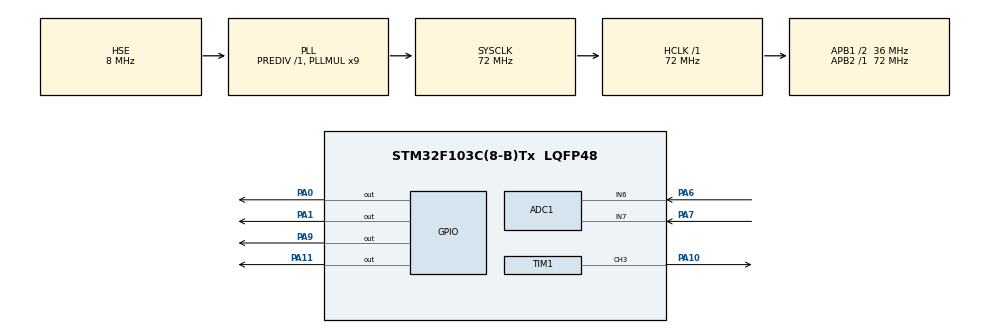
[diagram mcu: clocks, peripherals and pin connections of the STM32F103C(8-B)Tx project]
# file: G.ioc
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ADC1.Channel-0\#ChannelRegularConversion=ADC_CHANNEL_6
ADC1.Channel-1\#ChannelRegularConversion=ADC_CHANNEL_7
ADC1.DiscontinuousConvMode=ENABLE
ADC1.NbrOfConversion=2
ADC1.NbrOfConversionFlag=1
ADC1.Rank-0\#ChannelRegularConversion=1
ADC1.Rank-1\#ChannelRegularConversion=2
ADC1.SamplingTime-0\#ChannelRegularConversion=ADC_SAMPLETIME_239CYCLES_5
ADC1.SamplingTime-1\#ChannelRegularConversion=ADC_SAMPLETIME_239CYCLES_5
ADC1.master=1
Mcu.Family=STM32F1
Mcu.Name=STM32F103C(8-B)Tx
Mcu.Package=LQFP48
NVIC.PriorityGroup=NVIC_PRIORITYGROUP_4
PA0-WKUP.GPIO_ModeDefaultOutputPP=GPIO_MODE_OUTPUT_PP
PA0-WKUP.GPIO_PuPd=GPIO_NOPULL
PA0-WKUP.GPIO_Speed=GPIO_SPEED_FREQ_HIGH
PA0-WKUP.PinState=GPIO_PIN_RESET
PA0-WKUP.Signal=GPIO_Output
PA1.GPIO_ModeDefaultOutputPP=GPIO_MODE_OUTPUT_PP
PA1.GPIO_PuPd=GPIO_NOPULL
PA1.GPIO_Speed=GPIO_SPEED_FREQ_HIGH
PA1.PinState=GPIO_PIN_RESET
PA1.Signal=GPIO_Output
PA10.GPIO_Speed=GPIO_SPEED_FREQ_HIGH
PA10.Signal=S_TIM1_CH3
PA11.GPIO_PuPd=GPIO_PULLDOWN
PA11.GPIO_Speed=GPIO_SPEED_FREQ_HIGH
PA11.Signal=GPIO_Output
PA13.Mode=Serial_Wire
PA13.Signal=SYS_JTMS-SWDIO
PA14.Mode=Serial_Wire
PA14.Signal=SYS_JTCK-SWCLK
PA6.Signal=ADCx_IN6
PA7.Signal=ADCx_IN7
PA9.GPIO_Speed=GPIO_SPEED_FREQ_HIGH
PA9.Signal=GPIO_Output
PD0-OSC_IN.Mode=HSE-External-Oscillator
PD0-OSC_IN.Signal=RCC_OSC_IN
PD1-OSC_OUT.Mode=HSE-External-Oscillator
PD1-OSC_OUT.Signal=RCC_OSC_OUT
ProjectManager.HeapSize=0x200
ProjectManager.StackSize=0x400
ProjectManager.TargetToolchain=MDK-ARM V5.32
RCC.ADCPresc=RCC_ADCPCLK2_DIV6
RCC.AHBFreq_Value=72000000
RCC.APB1CLKDivider=RCC_HCLK_DIV2
RCC.APB1Freq_Value=36000000
RCC.APB1TimFreq_Value=72000000
RCC.APB2Freq_Value=72000000
RCC.APB2TimFreq_Value=72000000
RCC.HCLKFreq_Value=72000000
RCC.PLLMUL=RCC_PLL_MUL9
RCC.PLLSourceVirtual=RCC_PLLSOURCE_HSE
RCC.SYSCLKFreq_VALUE=72000000
RCC.SYSCLKSource=RCC_SYSCLKSOURCE_PLLCLK
RCC.USBFreq_Value=72000000
SH.ADCx_IN6.0=ADC1_IN6,IN6
SH.ADCx_IN7.0=ADC1_IN7,IN7
SH.S_TIM1_CH3.0=TIM1_CH3,PWM Generation3 CH3
TIM1.Channel-PWM\ Generation3\ CH3=TIM_CHANNEL_3
TIM1.Period=999
TIM1.Prescaler=71
TIM1.Pulse-PWM\ Generation3\ CH3=499
VP_TIM1_VS_ClockSourceINT.Mode=Internal
board=custom

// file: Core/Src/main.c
/* USER CODE BEGIN Header */
/**
  ******************************************************************************
  * @file           : main.c
  * @brief          : Main program body
  ******************************************************************************
  * @attention
  *
  * Copyright (c) 2025 STMicroelectronics.
  * All rights reserved.
  *
  * This software is licensed under terms that can be found in the LICENSE file
  * in the root directory of this software component.
  * If no LICENSE file comes with this software, it is provided AS-IS.
  *
  ******************************************************************************
  */
/* USER CODE END Header */
#include "main.h"
#include "adc.h"
#include "tim.h"
#include "gpio.h"
#include "oled.h"
#include "dht11.h"
#include "stdio.h"
#include "string.h"

void SystemClock_Config(void);
/* USER CODE BEGIN PFP */
void OLED_Poce(void);
void DATA_Poce(void);
/* USER CODE END PFP */

/* USER CODE BEGIN 0 */
extern unsigned int rec_data[4];
extern float ADC_VAL[2];
uint8_t oled[100] = {0};
//控制传感器的标志位
uint8_t yw_flag = 0;
uint8_t yw_led_flag = 0;
uint8_t yw_beep_flag = 0;
//控制行人经过的标志位
uint8_t xr_flag = 0;
uint8_t xr_led_flag = 0;
uint8_t xr_beep_flag = 0;
//控制温度的标志位
uint8_t wd_flag = 0;
uint8_t wd_led_flag = 0;
uint8_t wd_beep_flag = 0;
//led闪烁控制逻辑
uint8_t led_dis = 0;
uint8_t led_flag = 0;
uint8_t led_num = 0;
uint16_t time_led = 0;
uint16_t time_beep = 0;
/* USER CODE END 0 */

int main(void)
{

  /* MCU Configuration--------------------------------------------------------*/

  /* Reset of all peripherals, Initializes the Flash interface and the Systick. */
  HAL_Init();

  /* Configure the system clock */
  SystemClock_Config();

  /* Initialize all configured peripherals */
  MX_GPIO_Init();
  MX_ADC1_Init();
  MX_TIM1_Init();
	DWT_Init();
	OLED_Init();
	OLED_Clear();
  /* USER CODE BEGIN 2 */
	HAL_Delay(3000);
  /* USER CODE END 2 */
	DHT11_REC_Data();
	while(rec_data[2] > 60)
  /* Infinite loop */
  while (1)
  {
		DATA_Poce();
		OLED_Poce();
  }
}

void SystemClock_Config(void)
{
  RCC_OscInitTypeDef RCC_OscInitStruct = {0};
  RCC_ClkInitTypeDef RCC_ClkInitStruct = {0};
  RCC_PeriphCLKInitTypeDef PeriphClkInit = {0};

  /** Initializes the RCC Oscillators according to the specified parameters
  * in the RCC_OscInitTypeDef structure.
  */
  RCC_OscInitStruct.OscillatorType = RCC_OSCILLATORTYPE_HSE;
  RCC_OscInitStruct.HSEState = RCC_HSE_ON;
  RCC_OscInitStruct.HSEPredivValue = RCC_HSE_PREDIV_DIV1;
  RCC_OscInitStruct.HSIState = RCC_HSI_ON;
  RCC_OscInitStruct.PLL.PLLState = RCC_PLL_ON;
  RCC_OscInitStruct.PLL.PLLSource = RCC_PLLSOURCE_HSE;
  RCC_OscInitStruct.PLL.PLLMUL = RCC_PLL_MUL9;
  if (HAL_RCC_OscConfig(&RCC_OscInitStruct) != HAL_OK)
  {
    Error_Handler();
  }

  /** Initializes the CPU, AHB and APB buses clocks
  */
  RCC_ClkInitStruct.ClockType = RCC_CLOCKTYPE_HCLK|RCC_CLOCKTYPE_SYSCLK
                              |RCC_CLOCKTYPE_PCLK1|RCC_CLOCKTYPE_PCLK2;
  RCC_ClkInitStruct.SYSCLKSource = RCC_SYSCLKSOURCE_PLLCLK;
  RCC_ClkInitStruct.AHBCLKDivider = RCC_SYSCLK_DIV1;
  RCC_ClkInitStruct.APB1CLKDivider = RCC_HCLK_DIV2;
  RCC_ClkInitStruct.APB2CLKDivider = RCC_HCLK_DIV1;

  if (HAL_RCC_ClockConfig(&RCC_ClkInitStruct, FLASH_LATENCY_2) != HAL_OK)
  {
    Error_Handler();
  }
  PeriphClkInit.PeriphClockSelection = RCC_PERIPHCLK_ADC;
  PeriphClkInit.AdcClockSelection = RCC_ADCPCLK2_DIV6;
  if (HAL_RCCEx_PeriphCLKConfig(&PeriphClkInit) != HAL_OK)
  {
    Error_Handler();
  }
}

/* USER CODE BEGIN 4 */
void OLED_Poce(void)
{
	//温度
	OLED_ShowChinese(0,0,37,16,1);
	OLED_ShowChinese(16,0,38,16,1);
	OLED_ShowChar(32,0,':',16,1);
	OLED_ShowNum(40,0,rec_data[2],2,16,1);
	if(wd_flag == 0)
	{
		OLED_ShowChinese(64,0,15,16,1);
		OLED_ShowChinese(80,0,16,16,1);
	}
	else
	{
		OLED_ShowChinese(64,0,17,16,1);
		OLED_ShowChinese(80,0,18,16,1);
	}
	//烟雾
	OLED_ShowChinese(0,16,39,16,1);
	OLED_ShowChinese(16,16,40,16,1);
	OLED_ShowChar(32,16,':',16,1);
	if(yw_flag == 0 || yw_flag == 2)
	{
		OLED_ShowChinese(40,16,15,16,1);
		OLED_ShowChinese(56,16,16,16,1);
	}
	else
	{
		OLED_ShowChinese(40,16,17,16,1);
		OLED_ShowChinese(56,16,18,16,1);
	}
	//行人
	OLED_ShowChinese(0,32,41,16,1);
	OLED_ShowChinese(16,32,24,16,1);
	OLED_ShowChar(32,32,':',16,1);
	if(xr_flag == 0)
	{
		OLED_ShowChinese(40,32,23,16,1);
		OLED_ShowChinese(56,32,24,16,1);
	}
	else
	{
		OLED_ShowChinese(40,32,22,16,1);
		OLED_ShowChinese(56,32,24,16,1);
	}
}

void DATA_Poce(void)
{
	HAL_Delay(100);
	DHT11_REC_Data();
	adc_read();
	//烟雾检测
	if ((uint16_t)(ADC_VAL[0]*100) > 180 && yw_flag == 0)
	{
		time_led = 0;
		HAL_TIM_PWM_Start(&htim1, TIM_CHANNEL_3);
		HAL_GPIO_WritePin(GPIOA,GPIO_PIN_11,GPIO_PIN_SET);
		HAL_Delay(300);
		HAL_TIM_PWM_Stop(&htim1, TIM_CHANNEL_3);
		HAL_GPIO_WritePin(GPIOA,GPIO_PIN_11,GPIO_PIN_RESET);
		HAL_Delay(300);
		led_flag = 1;
		yw_flag = 1;
	}
	else if((uint16_t)(ADC_VAL[0]*100) < 160 && yw_flag == 1)
	{
		yw_flag = 0;
	}
	//红外传感器检测行人经过
	if ((uint16_t)(ADC_VAL[1]*100) > 200 && xr_flag == 0)
	{
		time_led = 0;
		HAL_TIM_PWM_Start(&htim1, TIM_CHANNEL_3);
		HAL_GPIO_WritePin(GPIOA,GPIO_PIN_11,GPIO_PIN_SET);
		HAL_Delay(300);
		HAL_TIM_PWM_Stop(&htim1, TIM_CHANNEL_3);
		HAL_GPIO_WritePin(GPIOA,GPIO_PIN_11,GPIO_PIN_RESET);
		HAL_Delay(300);
		HAL_TIM_PWM_Start(&htim1, TIM_CHANNEL_3);
		HAL_GPIO_WritePin(GPIOA,GPIO_PIN_11,GPIO_PIN_SET);
		HAL_Delay(300);
		HAL_TIM_PWM_Stop(&htim1, TIM_CHANNEL_3);
		HAL_GPIO_WritePin(GPIOA,GPIO_PIN_11,GPIO_PIN_RESET);
		led_flag = 1;
		xr_flag = 1;
	}
	else if ((uint16_t)(ADC_VAL[1]*100) < 180 && xr_flag == 1)
	{
		xr_flag = 0;
	}
	//温度传感器检测
	if (rec_data[2] > 28 && wd_flag == 0)
	{
		time_led = 0;
		HAL_TIM_PWM_Start(&htim1, TIM_CHANNEL_3);
		HAL_GPIO_WritePin(GPIOA,GPIO_PIN_11,GPIO_PIN_SET);
		HAL_Delay(300);
		HAL_TIM_PWM_Stop(&htim1, TIM_CHANNEL_3);
		HAL_GPIO_WritePin(GPIOA,GPIO_PIN_11,GPIO_PIN_RESET);
		HAL_Delay(300);
		HAL_TIM_PWM_Start(&htim1, TIM_CHANNEL_3);
		HAL_GPIO_WritePin(GPIOA,GPIO_PIN_11,GPIO_PIN_SET);
		HAL_Delay(300);
		HAL_TIM_PWM_Stop(&htim1, TIM_CHANNEL_3);
		HAL_GPIO_WritePin(GPIOA,GPIO_PIN_11,GPIO_PIN_RESET);
		HAL_Delay(300);
		HAL_TIM_PWM_Start(&htim1, TIM_CHANNEL_3);
		HAL_GPIO_WritePin(GPIOA,GPIO_PIN_11,GPIO_PIN_SET);
		HAL_Delay(300);
		HAL_TIM_PWM_Stop(&htim1, TIM_CHANNEL_3);
		HAL_GPIO_WritePin(GPIOA,GPIO_PIN_11,GPIO_PIN_RESET);
		led_flag = 1;
		wd_flag = 1;
	}
	else if(rec_data[2] < 28 && wd_flag == 1)
	{
		wd_flag = 0;
	}
	//不管什么警报，出发后蜂鸣器启动结束触发十次led翻转
//	if(led_flag == 1)
//	{
//		if (time_led > 200)
//		{
//			led_num++;
//			time_led = 0;
//			HAL_GPIO_TogglePin(GPIOA, GPIO_PIN_11);  // 直接切换状态
//			if(led_num == 10)
//			{
//				led_num = 0;
//				led_flag = 0;
//				HAL_GPIO_WritePin(GPIOA,GPIO_PIN_11,GPIO_PIN_RESET);
//				if(xr_flag == 1)
//					xr_flag = 0;
//			}
//		}
//	}
}
/* USER CODE END 4 */

void Error_Handler(void)
{
  __disable_irq();
  while (1)
  {
  }
}
